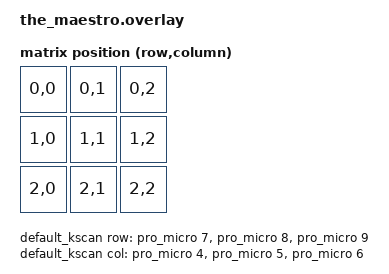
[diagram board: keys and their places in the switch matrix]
#include <dt-bindings/zmk/matrix_transform.h>

&pinctrl {
  spi0_default: spi0_default {
    group1 {
      psels = <NRF_PSEL(SPIM_SCK, 1, 13)>,
              <NRF_PSEL(SPIM_MOSI, 0, 10)>,
              <NRF_PSEL(SPIM_MISO, 0, 10)>;
    };
  };

  spi0_sleep: spi0_sleep {
    group1 {
      psels = <NRF_PSEL(SPIM_SCK, 1, 13)>,
              <NRF_PSEL(SPIM_MOSI, 0, 10)>,
              <NRF_PSEL(SPIM_MISO, 0, 10)>;
      low-power-enable;
    };
  };
};

&spi0 {
  status = "okay";
  compatible = "nordic,nrf-spim";
  pinctrl-0 = <&spi0_default>;
  pinctrl-1 = <&spi0_sleep>;
  pinctrl-names = "default", "sleep";
  cs-gpios = <&gpio0 9 GPIO_ACTIVE_LOW>;

  trackball: trackball@0 {
    status = "okay";
    compatible = "pixart,pmw3610";
    reg = <0>;
    spi-max-frequency = <2000000>;
    irq-gpios = <&gpio1 11 (GPIO_ACTIVE_LOW | GPIO_PULL_UP)>;

    /* optional features */
    // snipe-layers = <1>;
    // scroll-layers = <2 3>;
    // automouse-layer = <4>;
  };
};

/ {
  chosen {
    zmk,kscan = &default_kscan;
    zmk,matrix_transform = &default_transform;
  };

  default_kscan: kscan {
    compatible = "zmk,kscan-gpio-matrix";
    label = "default_kscan";
    diode-direction = "col2row";

    row-gpios = <&pro_micro 7 (GPIO_ACTIVE_HIGH | GPIO_PULL_DOWN)>,
                <&pro_micro 8 (GPIO_ACTIVE_HIGH | GPIO_PULL_DOWN)>,
                <&pro_micro 9 (GPIO_ACTIVE_HIGH | GPIO_PULL_DOWN)>;

    col-gpios = <&pro_micro 4 GPIO_ACTIVE_HIGH>,
                <&pro_micro 5 GPIO_ACTIVE_HIGH>,
                <&pro_micro 6 GPIO_ACTIVE_HIGH>;
  };

  default_transform: matrix_transform {
    compatible = "zmk,matrix-transform";
    rows = <3>;
    columns = <3>;

    map = <
      RC(0,0) RC(0,1) RC(0,2)
      RC(1,0) RC(1,1) RC(1,2)
      RC(2,0) RC(2,1) RC(2,2)
    >;
  };

  trackball_listener: trackball_listener {
    compatible = "zmk,input-listener";
    device = <&trackball>;
  };
};
